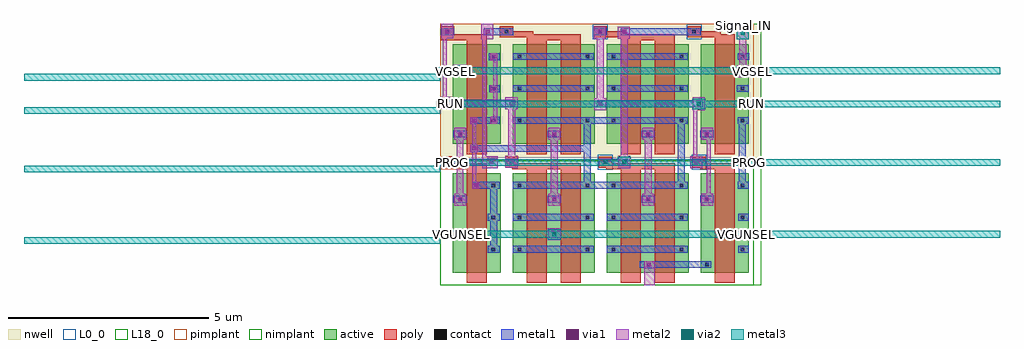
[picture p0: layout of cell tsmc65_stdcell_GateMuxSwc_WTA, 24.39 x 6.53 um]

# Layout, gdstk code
import gdstk
lib = gdstk.Library(unit=1e-6, precision=1e-09)
def R(c, l, rs):  # rectangles x0, y0, x1, y1
    for r in rs: c.add(gdstk.rectangle(r[:2], r[2:], *l))
def A(c, l, x, y, w, h, nx, ny, dx, dy):  # array of equal rectangles
    R(c, l, [(x+i*dx, y+j*dy, x+i*dx+w, y+j*dy+h) for i in range(nx) for j in range(ny)])
L0_0 = (0, 0)
nwell = (3, 0)
active = (6, 0)
poly = (17, 0)
L18_0 = (18, 0)
pimplant = (25, 0)
nimplant = (26, 0)
contact = (30, 0)
metal1 = (31, 0)
metal2 = (32, 0)
metal3 = (33, 0)
via1 = (51, 0)
via2 = (52, 0)

m2_m1_cdns_668292456170 = lib.new_cell('M2_M1_CDNS_668292456170')
R(m2_m1_cdns_668292456170, metal1, [(-0.09,-0.09,0.09,0.09)])
R(m2_m1_cdns_668292456170, metal2, [(-0.09,-0.09,0.09,0.09)])
R(m2_m1_cdns_668292456170, via1, [(-0.05,-0.05,0.05,0.05)])

tsmc65_stdcell_gatemuxsw = lib.new_cell('tsmc65_stdcell_GateMuxSwc_WTA')
R(tsmc65_stdcell_gatemuxsw, L0_0, [(14.345,2.89,14.715,3.26), (16.685,2.89,17.055,3.26), (14.215,6.15,14.585,6.52), (16.565,6.15,16.935,6.52)])
R(tsmc65_stdcell_gatemuxsw, nwell, [(10.405,3.19,18.425,6.53)])
R(tsmc65_stdcell_gatemuxsw, active, [(10.715,0.31,11.915,2.8), (12.215,0.31,14.265,2.8), (14.565,0.31,16.615,2.8), (16.915,0.31,18.115,2.8), (10.715,3.53,11.915,6.02), (12.215,3.53,14.265,6.02), (14.565,3.53,16.615,6.02), (16.915,3.53,18.115,6.02)])
A(tsmc65_stdcell_gatemuxsw, poly, 12.025, 3.05, 0.33, 0.16, 3, 1, 2.34, 0)
R(tsmc65_stdcell_gatemuxsw, poly, [(11.065,0.06,11.565,2.9), (12.565,0.06,13.065,2.9), (13.415,0.06,13.915,2.9), (14.915,0.06,15.415,2.9), (15.765,0.06,16.265,2.9), (17.265,0.06,17.765,2.9), (10.405,2.9,11.565,2.95), (12.205,2.9,13.915,2.94), (14.555,2.9,16.265,2.94), (16.905,2.9,17.765,2.94), (12.025,2.94,13.915,3.05), (14.365,2.94,16.265,3.05), (16.705,2.94,17.765,3.05), (10.405,2.95,11.565,3.05), (10.405,3.05,10.705,3.22), (11.065,3.27,11.565,6.12), (12.565,3.27,13.065,6.12), (13.415,3.27,13.915,6.12), (14.915,3.27,15.415,6.12), (15.765,3.27,16.265,6.12), (17.265,3.27,17.765,6.12), (10.42,6.12,11.565,6.27), (12.565,6.12,13.915,6.2), (14.915,6.12,16.265,6.2), (17.265,6.12,17.765,6.2), (11.895,6.2,13.915,6.27), (14.235,6.2,16.265,6.27), (16.585,6.2,17.765,6.27), (10.42,6.27,10.75,6.47), (11.895,6.27,12.725,6.35), (14.235,6.27,15.065,6.35), (16.585,6.27,17.415,6.35), (11.895,6.35,12.225,6.47), (14.235,6.35,14.565,6.47), (16.585,6.35,16.915,6.47)])
R(tsmc65_stdcell_gatemuxsw, L18_0, [(10.405,0,18.425,6.53)])
R(tsmc65_stdcell_gatemuxsw, pimplant, [(10.405,3.11,18.245,6.53)])
R(tsmc65_stdcell_gatemuxsw, nimplant, [(10.405,0,18.245,3.11)])
A(tsmc65_stdcell_gatemuxsw, contact, 17.025, 0.47, 0.09, 0.09, 1, 3, 0, 1.63)
A(tsmc65_stdcell_gatemuxsw, contact, 11.685, 0.85, 0.09, 0.09, 1, 3, 0, 0.8)
A(tsmc65_stdcell_gatemuxsw, contact, 12.335, 0.85, 0.09, 0.09, 1, 3, 0, 0.8)
A(tsmc65_stdcell_gatemuxsw, contact, 14.035, 0.85, 0.09, 0.09, 1, 3, 0, 0.8)
A(tsmc65_stdcell_gatemuxsw, contact, 14.685, 0.85, 0.09, 0.09, 1, 3, 0, 0.8)
A(tsmc65_stdcell_gatemuxsw, contact, 16.385, 0.85, 0.09, 0.09, 1, 3, 0, 0.8)
A(tsmc65_stdcell_gatemuxsw, contact, 17.91, 0.85, 0.09, 0.09, 1, 3, 0, 0.8)
A(tsmc65_stdcell_gatemuxsw, contact, 10.855, 2.1, 0.09, 0.09, 3, 2, 2.35, 1.63)
A(tsmc65_stdcell_gatemuxsw, contact, 12.335, 4.07, 0.09, 0.09, 1, 3, 0, 0.8)
A(tsmc65_stdcell_gatemuxsw, contact, 14.035, 4.07, 0.09, 0.09, 1, 3, 0, 0.8)
A(tsmc65_stdcell_gatemuxsw, contact, 14.685, 4.07, 0.09, 0.09, 1, 3, 0, 0.8)
A(tsmc65_stdcell_gatemuxsw, contact, 16.385, 4.07, 0.09, 0.09, 1, 3, 0, 0.8)
A(tsmc65_stdcell_gatemuxsw, contact, 17.91, 4.07, 0.09, 0.09, 1, 3, 0, 0.8)
R(tsmc65_stdcell_gatemuxsw, contact, [(15.575,0.47,15.665,0.56), (13.205,1.23,13.295,1.32), (12.145,3.03,12.235,3.12), (14.485,3.03,14.575,3.12), (16.775,3.03,16.865,3.12), (10.495,3.04,10.585,3.13), (11.685,4.07,11.775,4.16), (11.685,4.87,11.775,4.96), (17.92,5.29,18.01,5.38), (10.855,5.31,10.945,5.4), (11.695,5.665,11.785,5.755), (10.54,6.29,10.63,6.38), (12.015,6.29,12.105,6.38), (14.355,6.29,14.445,6.38), (16.705,6.29,16.795,6.38)])
A(tsmc65_stdcell_gatemuxsw, metal1, 10.735, 2.06, 0.33, 0.17, 3, 2, 2.35, 1.63)
R(tsmc65_stdcell_gatemuxsw, metal1, [(15.395,0.43,17.175,0.6), (11.59,0.81,11.895,0.98), (12.215,0.81,14.245,0.98), (14.565,0.81,16.595,0.98), (17.85,0.81,18.12,0.98), (11.66,0.98,11.83,1.61), (13.085,1.19,13.415,1.36), (11.595,1.61,11.895,1.78), (12.215,1.61,14.245,1.78), (14.565,1.61,16.595,1.78), (17.85,1.61,18.12,1.78), (11.66,1.78,11.83,2.41), (16.905,2.06,17.235,2.23), (11.2,2.41,11.895,2.58), (12.215,2.41,16.595,2.58), (17.845,2.41,18.12,2.58), (13.995,2.58,14.165,3.33), (16.345,2.58,16.515,4.03), (17.87,2.58,18.04,4.03), (11.77,2.99,11.84,3), (12.025,2.99,12.355,3.16), (14.365,2.99,15.085,3.16), (16.705,2.99,17.035,3.16), (10.405,3,11.84,3.16), (11.77,3.16,11.84,3.17), (11.2,3.33,14.165,3.5), (13.995,3.5,14.165,4.03), (16.905,3.69,17.235,3.86), (11.195,4.03,11.895,4.2), (12.215,4.03,16.595,4.2), (17.835,4.03,18.12,4.2), (11.83,4.2,11.895,4.21), (14.315,4.45,16.96,4.62), (10.405,4.46,12.28,4.63), (11.625,4.82,11.65,4.83), (11.83,4.82,11.895,4.83), (11.625,4.83,11.895,5), (12.215,4.83,14.245,5), (14.565,4.83,16.595,5), (17.815,4.83,18.12,5), (17.8,5.25,18.13,5.42), (10.735,5.27,11.065,5.44), (11.615,5.62,11.895,5.63), (11.615,5.63,11.895,5.8), (12.215,5.63,14.245,5.8), (14.565,5.63,16.595,5.8), (17.845,5.63,18.13,5.8), (10.42,6.25,10.75,6.42), (11.495,6.25,12.225,6.42), (14.235,6.25,14.565,6.42), (14.915,6.25,16.915,6.42)])
A(tsmc65_stdcell_gatemuxsw, metal2, 10.755, 1.99, 0.3, 0.3, 3, 2, 2.35, 1.64)
A(tsmc65_stdcell_gatemuxsw, metal2, 10.815, 2.29, 0.17, 1.34, 3, 1, 2.35, 0)
R(tsmc65_stdcell_gatemuxsw, metal2, [(15.505,0,15.76,0.6), (13.095,1.12,13.415,1.14), (13.105,1.12,13.405,1.14), (13.095,1.14,13.415,1.4), (13.095,1.4,13.415,1.42), (13.105,1.4,13.405,1.42), (16.925,1.99,17.225,2.29), (17.065,2.29,17.165,3.63), (11.2,2.58,11.3,3.33), (11.45,2.92,11.84,3.22), (14.855,2.92,15.155,2.93), (14.875,2.92,15.135,2.93), (16.655,2.92,16.955,3.22), (14.855,2.93,15.155,3.23), (12.035,2.94,12.335,3.24), (11.45,3.22,11.55,6.15), (16.725,3.22,16.825,4.37), (14.855,3.23,15.155,3.24), (14.875,3.23,15.135,3.24), (12.105,3.24,12.275,4.4), (14.915,3.24,15.085,6.16), (11.2,3.5,11.3,4.03), (16.925,3.63,17.225,3.93), (11.73,4.2,11.83,4.83), (14.255,4.37,14.555,4.67), (16.715,4.37,17.015,4.69), (12.035,4.4,12.335,4.7), (10.405,4.41,10.705,4.71), (14.315,4.67,14.485,6.16), (10.465,4.71,10.565,6.17), (11.73,5,11.83,5.63), (17.82,5.19,18.12,5.49), (10.745,5.21,10.755,5.23), (10.755,5.21,11.055,5.23), (11.055,5.21,11.065,5.23), (10.745,5.23,11.065,5.49), (10.745,5.49,11.065,5.51), (10.755,5.49,11.055,5.51), (17.88,5.49,18.05,6.15), (11.425,6.15,11.725,6.53), (17.81,6.15,18.11,6.17), (14.245,6.16,14.545,6.46), (14.845,6.16,15.145,6.46), (10.43,6.17,10.73,6.53), (17.81,6.17,18.11,6.53)])
R(tsmc65_stdcell_gatemuxsw, metal3, [(0,1.03,10.405,1.2), (10.31,1.03,10.405,1.36), (13.095,1.14,13.415,1.19), (10.405,1.19,18.425,1.36), (18.425,1.19,24.395,1.36), (13.095,1.36,13.415,1.4), (0,2.82,10.405,2.99), (10.31,2.82,10.405,3.15), (10.405,2.98,18.425,3.15), (18.425,2.98,24.395,3.15), (14.845,3.14,15.165,3.21), (0,4.28,10.405,4.45), (10.31,4.28,10.405,4.61), (16.705,4.4,17.025,4.44), (10.405,4.44,18.425,4.61), (18.425,4.44,24.395,4.61), (16.705,4.61,17.025,4.66), (0,5.11,10.405,5.28), (10.31,5.11,10.405,5.44), (10.745,5.23,11.065,5.27), (10.405,5.27,18.425,5.44), (18.425,5.27,24.395,5.44), (10.745,5.44,11.065,5.49), (17.81,6.14,18.11,6.145), (17.81,6.145,18.11,6.425), (17.81,6.425,18.11,6.44)])
A(tsmc65_stdcell_gatemuxsw, via1, 10.85, 2.095, 0.1, 0.1, 3, 2, 2.35, 1.63)
R(tsmc65_stdcell_gatemuxsw, via1, [(13.2,1.225,13.3,1.325), (17.02,2.095,17.12,2.195), (12.14,3.025,12.24,3.125), (14.95,3.025,15.05,3.125), (16.77,3.025,16.87,3.125), (17.02,3.725,17.12,3.825), (14.35,4.485,14.45,4.585), (16.82,4.485,16.92,4.585), (10.5,4.495,10.6,4.595), (12.14,4.495,12.24,4.595), (17.915,5.285,18.015,5.385), (10.85,5.305,10.95,5.405), (10.535,6.285,10.635,6.385), (11.54,6.285,11.64,6.385), (14.35,6.285,14.45,6.385), (14.95,6.285,15.05,6.385)])
R(tsmc65_stdcell_gatemuxsw, via2, [(13.205,1.22,13.305,1.32), (14.955,3.03,15.055,3.13), (16.815,4.48,16.915,4.58), (10.855,5.31,10.955,5.41), (17.91,6.26,18.01,6.36)])
tsmc65_stdcell_gatemuxsw.add(gdstk.Reference(m2_m1_cdns_668292456170, (15.62,0.51)))
tsmc65_stdcell_gatemuxsw.add(gdstk.Reference(m2_m1_cdns_668292456170, (11.74,4.12)))
tsmc65_stdcell_gatemuxsw.add(gdstk.Reference(m2_m1_cdns_668292456170, (11.74,5.71)))
tsmc65_stdcell_gatemuxsw.add(gdstk.Reference(m2_m1_cdns_668292456170, (11.74,4.91)))
tsmc65_stdcell_gatemuxsw.add(gdstk.Reference(m2_m1_cdns_668292456170, (11.245,4.11)))
tsmc65_stdcell_gatemuxsw.add(gdstk.Reference(m2_m1_cdns_668292456170, (11.25,3.415)))
tsmc65_stdcell_gatemuxsw.add(gdstk.Reference(m2_m1_cdns_668292456170, (11.29,2.5)))
tsmc65_stdcell_gatemuxsw.add(gdstk.Reference(m2_m1_cdns_668292456170, (11.68,3.08)))
tsmc65_stdcell_gatemuxsw.add(gdstk.Label('Signal_IN', (17.975,6.485), layer=32, texttype=0))
tsmc65_stdcell_gatemuxsw.add(gdstk.Label('RUN', (18.19,4.53), layer=33, texttype=0))
tsmc65_stdcell_gatemuxsw.add(gdstk.Label('VGSEL', (18.22,5.35), layer=33, texttype=0))
tsmc65_stdcell_gatemuxsw.add(gdstk.Label('PROG', (18.125,3.07), layer=33, texttype=0))
tsmc65_stdcell_gatemuxsw.add(gdstk.Label('RUN', (10.65,4.53), layer=33, texttype=0))
tsmc65_stdcell_gatemuxsw.add(gdstk.Label('PROG', (10.715,3.07), layer=33, texttype=0))
tsmc65_stdcell_gatemuxsw.add(gdstk.Label('VGUNSEL', (10.94,1.275), layer=33, texttype=0))
tsmc65_stdcell_gatemuxsw.add(gdstk.Label('VGUNSEL', (18.065,1.275), layer=33, texttype=0))
tsmc65_stdcell_gatemuxsw.add(gdstk.Label('VGSEL', (10.78,5.35), layer=33, texttype=0))

lib.write_gds('tsmc65_stdcell_GateMuxSwc_WTA.gds')
